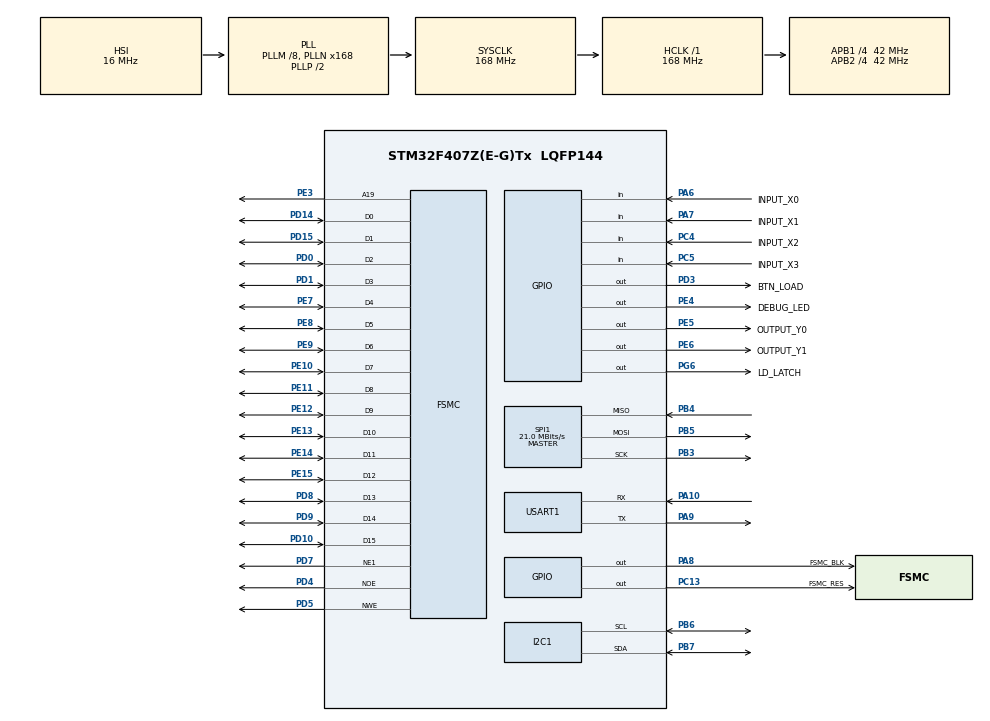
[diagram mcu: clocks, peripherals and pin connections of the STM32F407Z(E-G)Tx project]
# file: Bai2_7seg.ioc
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FSMC.AddressSetupTime1=0xf
FSMC.BusTurnAroundDuration1=0
FSMC.DataSetupTime1=60
FSMC.ExtendedAddressSetupTime1=8
FSMC.ExtendedBusTurnAroundDuration1=0
FSMC.ExtendedDataSetupTime1=9
FSMC.ExtendedMode1=FSMC_EXTENDED_MODE_ENABLE
I2C1.I2C_Mode=I2C_Standard
Mcu.Family=STM32F4
Mcu.Name=STM32F407Z(E-G)Tx
Mcu.Package=LQFP144
NVIC.PriorityGroup=NVIC_PRIORITYGROUP_4
NVIC.TIM2_IRQn=true\:0\:0\:false\:false\:true\:true\:true
NVIC.USART1_IRQn=true\:0\:0\:false\:false\:true\:true\:true
PA10.Mode=Asynchronous
PA10.Signal=USART1_RX
PA13.Mode=Serial_Wire
PA13.Signal=SYS_JTMS-SWDIO
PA14.Mode=Serial_Wire
PA14.Signal=SYS_JTCK-SWCLK
PA6.GPIO_Label=INPUT_X0
PA6.Signal=GPIO_Input
PA7.GPIO_Label=INPUT_X1
PA7.Signal=GPIO_Input
PA8.GPIO_Label=FSMC_BLK
PA8.Signal=GPIO_Output
PA9.Mode=Asynchronous
PA9.Signal=USART1_TX
PB3.Mode=Full_Duplex_Master
PB3.Signal=SPI1_SCK
PB4.Mode=Full_Duplex_Master
PB4.Signal=SPI1_MISO
PB5.Mode=Full_Duplex_Master
PB5.Signal=SPI1_MOSI
PB6.Mode=I2C
PB6.Signal=I2C1_SCL
PB7.Mode=I2C
PB7.Signal=I2C1_SDA
PC13-ANTI_TAMP.GPIO_Label=FSMC_RES
PC13-ANTI_TAMP.Signal=GPIO_Output
PC4.GPIO_Label=INPUT_X2
PC4.Signal=GPIO_Input
PC5.GPIO_Label=INPUT_X3
PC5.Signal=GPIO_Input
PD0.Signal=FSMC_D2_DA2
PD1.Signal=FSMC_D3_DA3
PD10.Signal=FSMC_D15_DA15
PD14.Signal=FSMC_D0_DA0
PD15.Signal=FSMC_D1_DA1
PD3.GPIO_Label=BTN_LOAD
PD3.Signal=GPIO_Output
PD4.Signal=FSMC_NOE
PD5.Signal=FSMC_NWE
PD7.Mode=NorPsramChipSelect1_1
PD7.Signal=FSMC_NE1
PD8.Signal=FSMC_D13_DA13
PD9.Signal=FSMC_D14_DA14
PE10.Signal=FSMC_D7_DA7
PE11.Signal=FSMC_D8_DA8
PE12.Signal=FSMC_D9_DA9
PE13.Signal=FSMC_D10_DA10
PE14.Signal=FSMC_D11_DA11
PE15.Signal=FSMC_D12_DA12
PE3.Signal=FSMC_A19
PE4.GPIO_Label=DEBUG_LED
PE4.Signal=GPIO_Output
PE5.GPIO_Label=OUTPUT_Y0
PE5.Signal=GPIO_Output
PE6.GPIO_Label=OUTPUT_Y1
PE6.Signal=GPIO_Output
PE7.Signal=FSMC_D4_DA4
PE8.Signal=FSMC_D5_DA5
PE9.Signal=FSMC_D6_DA6
PG6.GPIO_Label=LD_LATCH
PG6.Signal=GPIO_Output
PH0-OSC_IN.Mode=HSE-External-Oscillator
PH0-OSC_IN.Signal=RCC_OSC_IN
PH1-OSC_OUT.Mode=HSE-External-Oscillator
PH1-OSC_OUT.Signal=RCC_OSC_OUT
ProjectManager.HeapSize=0x200
ProjectManager.StackSize=0x400
ProjectManager.TargetToolchain=STM32CubeIDE
RCC.48MHZClocksFreq_Value=84000000
RCC.AHBFreq_Value=168000000
RCC.APB1CLKDivider=RCC_HCLK_DIV4
RCC.APB1Freq_Value=42000000
RCC.APB1TimFreq_Value=84000000
RCC.APB2CLKDivider=RCC_HCLK_DIV4
RCC.APB2Freq_Value=42000000
RCC.APB2TimFreq_Value=84000000
RCC.CortexFreq_Value=168000000
RCC.HCLKFreq_Value=168000000
RCC.HSE_VALUE=8000000
RCC.HSI_VALUE=16000000
RCC.LSE_VALUE=32768
RCC.PLLM=8
RCC.PLLN=168
RCC.SYSCLKFreq_VALUE=168000000
RCC.SYSCLKSource=RCC_SYSCLKSOURCE_PLLCLK
RCC.VCOOutputFreq_Value=336000000
SH.FSMC_A19.0=FSMC_A19,A19_1
SH.FSMC_D0_DA0.0=FSMC_D0,16b-d1
SH.FSMC_D10_DA10.0=FSMC_D10,16b-d1
SH.FSMC_D11_DA11.0=FSMC_D11,16b-d1
SH.FSMC_D12_DA12.0=FSMC_D12,16b-d1
SH.FSMC_D13_DA13.0=FSMC_D13,16b-d1
SH.FSMC_D14_DA14.0=FSMC_D14,16b-d1
SH.FSMC_D15_DA15.0=FSMC_D15,16b-d1
SH.FSMC_D1_DA1.0=FSMC_D1,16b-d1
SH.FSMC_D2_DA2.0=FSMC_D2,16b-d1
SH.FSMC_D3_DA3.0=FSMC_D3,16b-d1
SH.FSMC_D4_DA4.0=FSMC_D4,16b-d1
SH.FSMC_D5_DA5.0=FSMC_D5,16b-d1
SH.FSMC_D6_DA6.0=FSMC_D6,16b-d1
SH.FSMC_D7_DA7.0=FSMC_D7,16b-d1
SH.FSMC_D8_DA8.0=FSMC_D8,16b-d1
SH.FSMC_D9_DA9.0=FSMC_D9,16b-d1
SH.FSMC_NOE.0=FSMC_NOE,Lcd1
SH.FSMC_NWE.0=FSMC_NWE,Lcd1
SPI1.BaudRatePrescaler=SPI_BAUDRATEPRESCALER_2
SPI1.CalculateBaudRate=21.0 MBits/s
SPI1.Direction=SPI_DIRECTION_2LINES
SPI1.Mode=SPI_MODE_MASTER
SPI1.VirtualType=VM_MASTER
TIM2.Period=10-1
TIM2.Prescaler=840-1
USART1.VirtualMode=VM_ASYNC
VP_TIM2_VS_ClockSourceINT.Mode=Internal
board=custom

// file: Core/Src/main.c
/* USER CODE BEGIN Header */
/**
  ******************************************************************************
  * @file           : main.c
  * @brief          : Main program body
  ******************************************************************************
  * @attention
  *
  * <h2><center>&copy; Copyright (c) 2023 STMicroelectronics.
  * All rights reserved.</center></h2>
  *
  * This software component is licensed by ST under BSD 3-Clause license,
  * the "License"; You may not use this file except in compliance with the
  * License. You may obtain a copy of the License at:
  *                        opensource.org/licenses/BSD-3-Clause
  *
  ******************************************************************************
  */
/* USER CODE END Header */
#include "main.h"
#include "i2c.h"
#include "spi.h"
#include "tim.h"
#include "usart.h"
#include "gpio.h"
#include "fsmc.h"

/* USER CODE BEGIN Includes */
#include "software_timer.h"
#include "led_7seg.h"
#include "button.h"
#include "lcd.h"
#include "picture.h"
#include "ds3231.h"
#include "uart.h"
/* USER CODE END Includes */

/* USER CODE BEGIN PM */
#define SCAN_FREQ 100 // 1s -> 1hz
#define SCAN_TIME (1000.0/SCAN_FREQ)/4.0
/* USER CODE END PM */

void SystemClock_Config(void);
/* USER CODE BEGIN PFP */
void system_init();
void test_LedDebug();
void test_Uart();
void test_7seg();
void settime_7seg();
/* USER CODE END PFP */

/* USER CODE BEGIN 0 */
int hour = 13;
int min = 51;
int second = 50;
/* USER CODE END 0 */

int main(void)
{

  /* MCU Configuration--------------------------------------------------------*/

  /* Reset of all peripherals, Initializes the Flash interface and the Systick. */
  HAL_Init();

  /* Configure the system clock */
  SystemClock_Config();

  /* Initialize all configured peripherals */
  MX_GPIO_Init();
  MX_TIM2_Init();
  MX_SPI1_Init();
  MX_FSMC_Init();
  MX_I2C1_Init();
  MX_USART1_UART_Init();
  /* USER CODE BEGIN 2 */
  system_init();

  int state_y0_led = 0;
  int state_y1_led = 0;
  int state_colon = 0;
  /* USER CODE END 2 */

  /* Infinite loop */
  /* USER CODE BEGIN WHILE */
  while (1)
  {
	  if (flag_timer2){
		  setTimer2(250);
		  state_colon = 1 - state_colon;
		  led7_SetColon(state_colon);
	  }
	  if(flag_timer_second){
	  	 		  setTimerSecond(1000);
	  	 		  second = second + 1;
	  	 		  if(second >= 60){
	  	 			  second = 0;
	  	 			  min = min + 1;
	  	 			  if (min >= 60){
	  	 				  min = 0;
	  	 				  hour = (hour +1) % 24;
	  	 			  }
	  	 		  }
	  	 	  }

	  	  if (flag_timer7seg){
	  		  setTimer7seg_f(SCAN_TIME);
	  		  settime_7seg();
	  		  led7_Scan();
	  	  }

    /* USER CODE END WHILE */

  }
}

void SystemClock_Config(void)
{
  RCC_OscInitTypeDef RCC_OscInitStruct = {0};
  RCC_ClkInitTypeDef RCC_ClkInitStruct = {0};

  /** Configure the main internal regulator output voltage
  */
  __HAL_RCC_PWR_CLK_ENABLE();
  __HAL_PWR_VOLTAGESCALING_CONFIG(PWR_REGULATOR_VOLTAGE_SCALE1);
  /** Initializes the RCC Oscillators according to the specified parameters
  * in the RCC_OscInitTypeDef structure.
  */
  RCC_OscInitStruct.OscillatorType = RCC_OSCILLATORTYPE_HSI;
  RCC_OscInitStruct.HSIState = RCC_HSI_ON;
  RCC_OscInitStruct.HSICalibrationValue = RCC_HSICALIBRATION_DEFAULT;
  RCC_OscInitStruct.PLL.PLLState = RCC_PLL_ON;
  RCC_OscInitStruct.PLL.PLLSource = RCC_PLLSOURCE_HSI;
  RCC_OscInitStruct.PLL.PLLM = 8;
  RCC_OscInitStruct.PLL.PLLN = 168;
  RCC_OscInitStruct.PLL.PLLP = RCC_PLLP_DIV2;
  RCC_OscInitStruct.PLL.PLLQ = 4;
  if (HAL_RCC_OscConfig(&RCC_OscInitStruct) != HAL_OK)
  {
    Error_Handler();
  }
  /** Initializes the CPU, AHB and APB buses clocks
  */
  RCC_ClkInitStruct.ClockType = RCC_CLOCKTYPE_HCLK|RCC_CLOCKTYPE_SYSCLK
                              |RCC_CLOCKTYPE_PCLK1|RCC_CLOCKTYPE_PCLK2;
  RCC_ClkInitStruct.SYSCLKSource = RCC_SYSCLKSOURCE_PLLCLK;
  RCC_ClkInitStruct.AHBCLKDivider = RCC_SYSCLK_DIV1;
  RCC_ClkInitStruct.APB1CLKDivider = RCC_HCLK_DIV4;
  RCC_ClkInitStruct.APB2CLKDivider = RCC_HCLK_DIV4;

  if (HAL_RCC_ClockConfig(&RCC_ClkInitStruct, FLASH_LATENCY_5) != HAL_OK)
  {
    Error_Handler();
  }
}

/* USER CODE BEGIN 4 */
void system_init(){
	  HAL_GPIO_WritePin(OUTPUT_Y0_GPIO_Port, OUTPUT_Y0_Pin, 0);
	  HAL_GPIO_WritePin(OUTPUT_Y1_GPIO_Port, OUTPUT_Y1_Pin, 0);
	  HAL_GPIO_WritePin(DEBUG_LED_GPIO_Port, DEBUG_LED_Pin, 0);
	  timer_init();
	  led7_init();
	  button_init();
	  lcd_init();
	  uart_init_rs232();
	  setTimer2(10);
	  setTimer3(10);
	  setTimer4(10);
	  setTimer7seg(10);
	  setTimerSecond(10);
	  settime_7seg();
}

uint16_t count_led_debug = 0;

void test_LedDebug(){
	count_led_debug = (count_led_debug + 1)%20;
	if(count_led_debug == 0){
		HAL_GPIO_TogglePin(DEBUG_LED_GPIO_Port, DEBUG_LED_Pin);
	}
}

void test_button(){
	for(int i = 0; i < 16; i++){
		if(button_count[i] == 1){
			led7_SetDigit(i/10, 2, 0);
			led7_SetDigit(i%10, 3, 0);
		}
	}
}

void test_Uart(){
	if(button_count[12] == 1){
		uart_Rs232SendNum(ds3231_hours);
		uart_Rs232SendString(":");
		uart_Rs232SendNum(ds3231_min);
		uart_Rs232SendString(":");
		uart_Rs232SendNum(ds3231_sec);
		uart_Rs232SendString("\n");
	}
}
void test_7seg(){
	led7_SetDigit(0, 0, 0);
	led7_SetDigit(1, 1, 0);
	led7_SetDigit(2, 2, 0);
	led7_SetDigit(3, 3, 0);
}

void settime_7seg(){
	led7_SetDigit(hour/10, 0, 0);
	led7_SetDigit(hour%10, 1, 0);
	led7_SetDigit(min/10, 2, 0);
	led7_SetDigit(min%10, 3, 0);
}
/* USER CODE END 4 */

void Error_Handler(void)
{
  __disable_irq();
  while (1)
  {
  }
}

/************************ (C) COPYRIGHT STMicroelectronics *****END OF FILE****/
